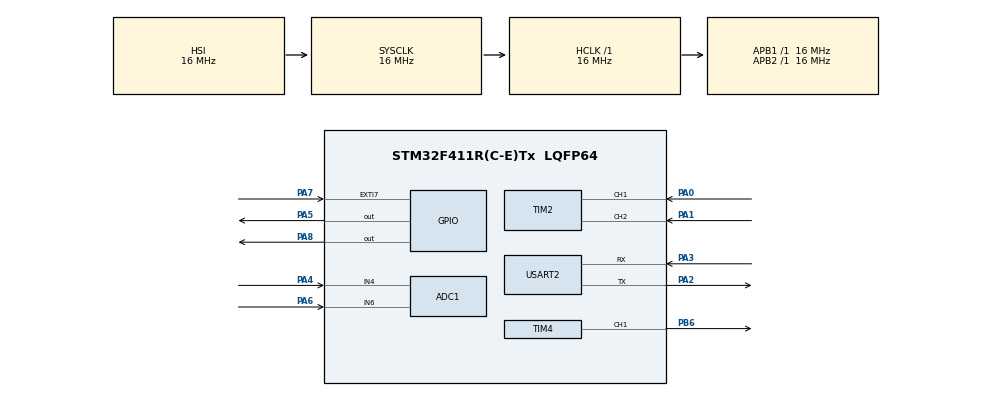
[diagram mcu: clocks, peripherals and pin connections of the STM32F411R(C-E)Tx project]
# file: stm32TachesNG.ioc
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ADC1.Channel-2\#ChannelRegularConversion=ADC_CHANNEL_6
ADC1.Channel-3\#ChannelRegularConversion=ADC_CHANNEL_4
ADC1.ClockPrescaler=ADC_CLOCK_SYNC_PCLK_DIV4
ADC1.ContinuousConvMode=DISABLE
ADC1.DMAContinuousRequests=ENABLE
ADC1.NbrOfConversion=2
ADC1.NbrOfConversionFlag=1
ADC1.Rank-2\#ChannelRegularConversion=1
ADC1.Rank-3\#ChannelRegularConversion=2
ADC1.SamplingTime-2\#ChannelRegularConversion=ADC_SAMPLETIME_3CYCLES
ADC1.SamplingTime-3\#ChannelRegularConversion=ADC_SAMPLETIME_3CYCLES
ADC1.ScanConvMode=ENABLE
ADC1.master=1
Dma.ADC1.0.Direction=DMA_PERIPH_TO_MEMORY
Dma.ADC1.0.FIFOMode=DMA_FIFOMODE_DISABLE
Dma.ADC1.0.Instance=DMA2_Stream0
Dma.ADC1.0.MemDataAlignment=DMA_MDATAALIGN_HALFWORD
Dma.ADC1.0.MemInc=DMA_MINC_ENABLE
Dma.ADC1.0.Mode=DMA_NORMAL
Dma.ADC1.0.PeriphDataAlignment=DMA_PDATAALIGN_HALFWORD
Dma.ADC1.0.PeriphInc=DMA_PINC_DISABLE
Dma.ADC1.0.Priority=DMA_PRIORITY_LOW
Dma.Request0=ADC1
Mcu.Family=STM32F4
Mcu.Name=STM32F411R(C-E)Tx
Mcu.Package=LQFP64
NVIC.ADC_IRQn=true\:0\:0\:false\:false\:true\:true\:true\:true
NVIC.DMA2_Stream0_IRQn=true\:0\:0\:false\:false\:true\:false\:true\:true
NVIC.EXTI9_5_IRQn=true\:0\:0\:false\:false\:true\:true\:true\:true
NVIC.PriorityGroup=NVIC_PRIORITYGROUP_4
NVIC.USART2_IRQn=true\:0\:0\:false\:false\:true\:true\:true\:true
PA0-WKUP.Signal=S_TIM2_CH1_ETR
PA1.Signal=S_TIM2_CH2
PA2.Mode=Asynchronous
PA2.Signal=USART2_TX
PA3.Mode=Asynchronous
PA3.Signal=USART2_RX
PA4.Signal=ADCx_IN4
PA5.Signal=GPIO_Output
PA6.Signal=ADCx_IN6
PA7.Signal=GPXTI7
PA8.Signal=GPIO_Output
PB6.Signal=S_TIM4_CH1
PH0\ -\ OSC_IN.Mode=HSE-External-Oscillator
PH0\ -\ OSC_IN.Signal=RCC_OSC_IN
PH1\ -\ OSC_OUT.Mode=HSE-External-Oscillator
PH1\ -\ OSC_OUT.Signal=RCC_OSC_OUT
ProjectManager.HeapSize=0x200
ProjectManager.StackSize=0x400
ProjectManager.TargetToolchain=STM32CubeIDE
RCC.48MHZClocksFreq_Value=48000000
RCC.AHBFreq_Value=16000000
RCC.APB1Freq_Value=16000000
RCC.APB1TimFreq_Value=16000000
RCC.APB2Freq_Value=16000000
RCC.APB2TimFreq_Value=16000000
RCC.CortexFreq_Value=16000000
RCC.HCLKFreq_Value=16000000
RCC.HSE_VALUE=25000000
RCC.HSI_VALUE=16000000
RCC.LSE_VALUE=32768
RCC.SYSCLKFreq_VALUE=16000000
RCC.VCOOutputFreq_Value=192000000
SH.ADCx_IN4.0=ADC1_IN4,IN4
SH.ADCx_IN6.0=ADC1_IN6,IN6
SH.S_TIM2_CH1_ETR.0=TIM2_CH1,Encoder_Interface
SH.S_TIM2_CH2.0=TIM2_CH2,Encoder_Interface
SH.S_TIM4_CH1.0=TIM4_CH1,PWM Generation1 CH1
TIM4.AutoReloadPreload=TIM_AUTORELOAD_PRELOAD_ENABLE
TIM4.Channel-PWM\ Generation1\ CH1=TIM_CHANNEL_1
TIM4.Period=49
TIM4.Prescaler=15
USART2.VirtualMode=VM_ASYNC
VP_TIM4_VS_ClockSourceINT.Mode=Internal
board=custom

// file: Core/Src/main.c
/* USER CODE BEGIN Header */
/**
  ******************************************************************************
  * @file           : main.c
  * @brief          : Main program body
  ******************************************************************************
  * @attention
  *
  * Copyright (c) 2023 STMicroelectronics.
  * All rights reserved.
  *
  * This software is licensed under terms that can be found in the LICENSE file
  * in the root directory of this software component.
  * If no LICENSE file comes with this software, it is provided AS-IS.
  *
  ******************************************************************************
  */
/* USER CODE END Header */
#include "main.h"

/* USER CODE BEGIN Includes */

#include <stdbool.h>
#include <stdio.h>
#include <string.h>

/* USER CODE END Includes */

/* USER CODE BEGIN PTD */
uint8_t recvBuf[3];
uint16_t valeur;
uint16_t consignSpeed = 0;
uint8_t motorState = 0;

#define pwmPeriod 20000
/* USER CODE END PTD */

ADC_HandleTypeDef hadc1;
DMA_HandleTypeDef hdma_adc1;

TIM_HandleTypeDef htim2;
TIM_HandleTypeDef htim4;

UART_HandleTypeDef huart2;

/* USER CODE BEGIN PV */

uint32_t value_adc;
uint32_t value_dac=0;
volatile uint16_t adcResultsDMA [2];
const int adcChannelCount = sizeof( adcResultsDMA)/ sizeof(adcResultsDMA[0]);
volatile int adcConversionComplete = 0 ;
int pwmConsign;
float up;
float ui = 0.0;

#define Te              5
#define tau 			70
#define COUNT_PER_ROUND 500
#define MAX_CNT_PER_REV (COUNT_PER_ROUND * 4 - 1)
#define MAX_COUNT (int)(((unsigned long)MAX_CNT_PER_REV*16392)/1000)
#define HALF_MAX_COUNT (MAX_COUNT>>1)
#define COEFF 16392

/* USER CODE END PV */

void SystemClock_Config(void);
static void MX_GPIO_Init(void);
static void MX_DMA_Init(void);
static void MX_TIM2_Init(void);
static void MX_USART2_UART_Init(void);
static void MX_ADC1_Init(void);
static void MX_TIM4_Init(void);
/* USER CODE BEGIN PFP */

void HAL_UART_RxCpltCallback(UART_HandleTypeDef *huart){
	switch(recvBuf[0]){
	case 0:
		motorState = recvBuf[1];
		break;
	case 1:

		consignSpeed = ((uint16_t)recvBuf[1] << 8) | recvBuf[2];
		break;
	}
	 HAL_UART_Receive_IT(&huart2, &recvBuf, sizeof(recvBuf));
}

/* USER CODE END PFP */

/* USER CODE BEGIN 0 */
bool value = 0;
int position[2] = {0,0};
int speed = 0;

float motorCurrentValue = 0.0;
//static float CurrentT = 0;
//static unsigned int numT = 0;
void HAL_TIM_PeriodElapsedCallback(TIM_HandleTypeDef *htim){
  	/*if ((htim==&htim3) )
  	HAL_GPIO_TogglePin(GPIOA, GPIO_PIN_5);*/

  	if ((htim==&htim2) )
  	  	HAL_GPIO_TogglePin(GPIOA, GPIO_PIN_8);
  		//numT++;
  		//CurrentT = (float)(numT * 0.0001);
  }

//void getPosition(int* pos){
//     int counterValue = 0;
//     counterValue = (int)TIM2->CNT;
//     pos[1] = pos[0];
//     pos[0] = (unsigned int)(((unsigned long)counterValue * COEFF)/1000);
//     }

void quadEncoder_PosCalcL(int* AngPos)
{

int POSCNTcopy = 0;
POSCNTcopy = (int)TIM2->CNT;
AngPos[1] = AngPos[0];
AngPos[0] = (unsigned int)(((unsigned long)POSCNTcopy * COEFF)/1000); // 0 <= POSCNT <= 4999 to 0 <= AngPos <= 32767
}

//int getSpeed(int* pos){
//   int speed = 0;
//   getPosition(pos);
//   speed = pos[0] - pos[1];
//   if (speed >= 0)
//	   {
//		   if (speed >= HALF_MAX_COUNT)
//			   {
//			   speed = speed - MAX_COUNT;
//			   }
//	   }
//	   else
//	   {
//		   if (speed < -HALF_MAX_COUNT)
//			   {
//			   speed = speed + MAX_COUNT;
//			   }
//	   }
//  speed=(speed*60*1000)/(32767*Te);
//  return speed;
// }
int16_t quadEncoder_GetSpeedL(void)
{
	static int AngPos[2] = {0,0};
	static int16_t SpeedL=0;

	quadEncoder_PosCalcL(AngPos);
	SpeedL = AngPos[0] - AngPos[1];
	if (SpeedL >= 0)
	{
		if (SpeedL >= HALF_MAX_COUNT)
			{
			SpeedL = SpeedL - MAX_COUNT;
			}
	}
	else
	{
		if (SpeedL < -HALF_MAX_COUNT)
			{
			SpeedL = SpeedL + MAX_COUNT;
			}
	}

	SpeedL=(SpeedL*60*1000)/(32767*Te);
	return SpeedL;
}
/* USER CODE END 0 */

int main(void)
{
  /* USER CODE BEGIN 1 */

	float Ti = 0.1 * tau ;
	float Ki = Te/ Ti ;
	float Kp = 0.1;
	int currentSpeed =0;
	float err = 0;

	int tab_speed[2000];
	static int i =0;

	float motorTensorValue =0.0;
  /* USER CODE END 1 */

  /* MCU Configuration--------------------------------------------------------*/

  /* Reset of all peripherals, Initializes the Flash interface and the Systick. */
  HAL_Init();

  /* Configure the system clock */
  SystemClock_Config();

  /* Initialize all configured peripherals */
  MX_GPIO_Init();
  MX_DMA_Init();
  MX_TIM2_Init();
  MX_USART2_UART_Init();
  MX_ADC1_Init();
  MX_TIM4_Init();
  /* USER CODE BEGIN 2 */

  //HAL_TIM_Encoder_Start(&htim5, TIM_CHANNEL_ALL);
  HAL_TIM_PWM_Start(&htim4, TIM_CHANNEL_1);
  HAL_TIM_Base_Start(&htim2);

  /* USER CODE END 2 */

  /* Infinite loop */
  /* USER CODE BEGIN WHILE */

	HAL_GPIO_WritePin(GPIOA, GPIO_PIN_5, 1);
	HAL_GPIO_WritePin(GPIOA, GPIO_PIN_8, 1);

  while (1)
  {

	HAL_ADC_Start_DMA(&hadc1,(uint32_t*)adcResultsDMA,adcChannelCount);
	while(adcConversionComplete ==0){};
	adcConversionComplete = 0 ;

	valeur =adcResultsDMA[0];
	motorTensorValue= adcResultsDMA[1];
	motorTensorValue = (motorTensorValue * 3.3 / 4095.0) ;
	motorCurrentValue = -4*(motorTensorValue -1)/(10*0.05);
	//valeur = HAL_ADC_GetValue(&hadc1);

	speed = quadEncoder_GetSpeedL();

	//HAL_UART_Transmit(&huart2, (uint8_t*)message, strlen(message), HAL_MAX_DELAY);
	err = consignSpeed - speed;
	up = Kp*err;
	ui = ui + Kp*Ki*err;
	pwmConsign = (int)((ui + up) * pwmPeriod/100);
	if(ui+up > 100 || ui+up <0){
		ui = 0;
		up = 0;
	}
	if(motorState){
	__HAL_TIM_SetCompare(&htim4, TIM_CHANNEL_1,pwmPeriod);
	}else{
	__HAL_TIM_SetCompare(&htim4, TIM_CHANNEL_1,0);
	}

//	char message[10];
//
//	snprintf(message, sizeof(message), "0#%0.3f\n\r",motorCurrentValue);
//	HAL_UART_Transmit(&huart2, (uint8_t*)message, strlen(message), HAL_MAX_DELAY);
//	snprintf(message, sizeof(message), "1#%d\n\r",speed);
//	HAL_UART_Transmit(&huart2, (uint8_t*)message, strlen(message), HAL_MAX_DELAY);

	HAL_Delay(Te);
    /* USER CODE END WHILE */

  }
}

void SystemClock_Config(void)
{
  RCC_OscInitTypeDef RCC_OscInitStruct = {0};
  RCC_ClkInitTypeDef RCC_ClkInitStruct = {0};

  /** Configure the main internal regulator output voltage
  */
  __HAL_RCC_PWR_CLK_ENABLE();
  __HAL_PWR_VOLTAGESCALING_CONFIG(PWR_REGULATOR_VOLTAGE_SCALE1);

  /** Initializes the RCC Oscillators according to the specified parameters
  * in the RCC_OscInitTypeDef structure.
  */
  RCC_OscInitStruct.OscillatorType = RCC_OSCILLATORTYPE_HSI;
  RCC_OscInitStruct.HSIState = RCC_HSI_ON;
  RCC_OscInitStruct.HSICalibrationValue = RCC_HSICALIBRATION_DEFAULT;
  RCC_OscInitStruct.PLL.PLLState = RCC_PLL_NONE;
  if (HAL_RCC_OscConfig(&RCC_OscInitStruct) != HAL_OK)
  {
    Error_Handler();
  }

  /** Initializes the CPU, AHB and APB buses clocks
  */
  RCC_ClkInitStruct.ClockType = RCC_CLOCKTYPE_HCLK|RCC_CLOCKTYPE_SYSCLK
                              |RCC_CLOCKTYPE_PCLK1|RCC_CLOCKTYPE_PCLK2;
  RCC_ClkInitStruct.SYSCLKSource = RCC_SYSCLKSOURCE_HSI;
  RCC_ClkInitStruct.AHBCLKDivider = RCC_SYSCLK_DIV1;
  RCC_ClkInitStruct.APB1CLKDivider = RCC_HCLK_DIV1;
  RCC_ClkInitStruct.APB2CLKDivider = RCC_HCLK_DIV1;

  if (HAL_RCC_ClockConfig(&RCC_ClkInitStruct, FLASH_LATENCY_0) != HAL_OK)
  {
    Error_Handler();
  }
}

static void MX_ADC1_Init(void)
{

  ADC_ChannelConfTypeDef sConfig = {0};

  /** Configure the global features of the ADC (Clock, Resolution, Data Alignment and number of conversion)
  */
  hadc1.Instance = ADC1;
  hadc1.Init.ClockPrescaler = ADC_CLOCK_SYNC_PCLK_DIV4;
  hadc1.Init.Resolution = ADC_RESOLUTION_12B;
  hadc1.Init.ScanConvMode = ENABLE;
  hadc1.Init.ContinuousConvMode = DISABLE;
  hadc1.Init.DiscontinuousConvMode = DISABLE;
  hadc1.Init.ExternalTrigConvEdge = ADC_EXTERNALTRIGCONVEDGE_NONE;
  hadc1.Init.ExternalTrigConv = ADC_SOFTWARE_START;
  hadc1.Init.DataAlign = ADC_DATAALIGN_RIGHT;
  hadc1.Init.NbrOfConversion = 2;
  hadc1.Init.DMAContinuousRequests = ENABLE;
  hadc1.Init.EOCSelection = ADC_EOC_SINGLE_CONV;
  if (HAL_ADC_Init(&hadc1) != HAL_OK)
  {
    Error_Handler();
  }

  /** Configure for the selected ADC regular channel its corresponding rank in the sequencer and its sample time.
  */
  sConfig.Channel = ADC_CHANNEL_6;
  sConfig.Rank = 1;
  sConfig.SamplingTime = ADC_SAMPLETIME_3CYCLES;
  if (HAL_ADC_ConfigChannel(&hadc1, &sConfig) != HAL_OK)
  {
    Error_Handler();
  }

  /** Configure for the selected ADC regular channel its corresponding rank in the sequencer and its sample time.
  */
  sConfig.Channel = ADC_CHANNEL_4;
  sConfig.Rank = 2;
  if (HAL_ADC_ConfigChannel(&hadc1, &sConfig) != HAL_OK)
  {
    Error_Handler();
  }

}

static void MX_TIM2_Init(void)
{

  TIM_Encoder_InitTypeDef sConfig = {0};
  TIM_MasterConfigTypeDef sMasterConfig = {0};

  htim2.Instance = TIM2;
  htim2.Init.Prescaler = 0;
  htim2.Init.CounterMode = TIM_COUNTERMODE_UP;
  htim2.Init.Period = COUNT_PER_ROUND*4;
  htim2.Init.ClockDivision = TIM_CLOCKDIVISION_DIV1;
  htim2.Init.AutoReloadPreload = TIM_AUTORELOAD_PRELOAD_DISABLE;
  sConfig.EncoderMode = TIM_ENCODERMODE_TI12;
  sConfig.IC1Polarity = TIM_INPUTCHANNELPOLARITY_RISING;
  sConfig.IC1Selection = TIM_ICSELECTION_DIRECTTI;
  sConfig.IC1Prescaler = TIM_ICPSC_DIV4;
  sConfig.IC1Filter = 0x0F;
  sConfig.IC2Polarity = TIM_INPUTCHANNELPOLARITY_RISING;
  sConfig.IC2Selection = TIM_ICSELECTION_DIRECTTI;
  sConfig.IC2Prescaler = TIM_ICPSC_DIV4;
  sConfig.IC2Filter = 0x0F;
  if (HAL_TIM_Encoder_Init(&htim2, &sConfig) != HAL_OK)
  {
    Error_Handler();
  }
  sMasterConfig.MasterOutputTrigger = TIM_TRGO_RESET;
  sMasterConfig.MasterSlaveMode = TIM_MASTERSLAVEMODE_DISABLE;
  if (HAL_TIMEx_MasterConfigSynchronization(&htim2, &sMasterConfig) != HAL_OK)
  {
    Error_Handler();
  }
  /* USER CODE BEGIN TIM2_Init 2 */
  __HAL_TIM_SetCounter(&htim2, 0);

  	HAL_TIM_Encoder_Start(&htim2,TIM_CHANNEL_1);
  	HAL_TIM_Encoder_Start(&htim2,TIM_CHANNEL_2);
  /* USER CODE END TIM2_Init 2 */

}

static void MX_TIM4_Init(void)
{

  TIM_ClockConfigTypeDef sClockSourceConfig = {0};
  TIM_MasterConfigTypeDef sMasterConfig = {0};
  TIM_OC_InitTypeDef sConfigOC = {0};

  /* USER CODE BEGIN TIM4_Init 1 */

  htim4.Instance = TIM4;
  htim4.Init.Prescaler = 0;
  htim4.Init.CounterMode = TIM_COUNTERMODE_UP;
  htim4.Init.Period = pwmPeriod;
  htim4.Init.ClockDivision = TIM_CLOCKDIVISION_DIV1;
  htim4.Init.AutoReloadPreload = TIM_AUTORELOAD_PRELOAD_ENABLE;
  /* USER CODE END TIM4_Init 1 */
  if (HAL_TIM_Base_Init(&htim4) != HAL_OK)
  {
    Error_Handler();
  }
  sClockSourceConfig.ClockSource = TIM_CLOCKSOURCE_INTERNAL;
  if (HAL_TIM_ConfigClockSource(&htim4, &sClockSourceConfig) != HAL_OK)
  {
    Error_Handler();
  }
  if (HAL_TIM_PWM_Init(&htim4) != HAL_OK)
  {
    Error_Handler();
  }
  sMasterConfig.MasterOutputTrigger = TIM_TRGO_RESET;
  sMasterConfig.MasterSlaveMode = TIM_MASTERSLAVEMODE_DISABLE;
  if (HAL_TIMEx_MasterConfigSynchronization(&htim4, &sMasterConfig) != HAL_OK)
  {
    Error_Handler();
  }
  sConfigOC.OCMode = TIM_OCMODE_PWM1;
  sConfigOC.Pulse = 0;
  sConfigOC.OCPolarity = TIM_OCPOLARITY_HIGH;
  sConfigOC.OCFastMode = TIM_OCFAST_DISABLE;
  if (HAL_TIM_PWM_ConfigChannel(&htim4, &sConfigOC, TIM_CHANNEL_1) != HAL_OK)
  {
    Error_Handler();
  }
  HAL_TIM_MspPostInit(&htim4);

}

static void MX_USART2_UART_Init(void)
{

  huart2.Instance = USART2;
  huart2.Init.BaudRate = 115200;
  huart2.Init.WordLength = UART_WORDLENGTH_8B;
  huart2.Init.StopBits = UART_STOPBITS_1;
  huart2.Init.Parity = UART_PARITY_NONE;
  huart2.Init.Mode = UART_MODE_TX_RX;
  huart2.Init.HwFlowCtl = UART_HWCONTROL_NONE;
  huart2.Init.OverSampling = UART_OVERSAMPLING_16;
  if (HAL_UART_Init(&huart2) != HAL_OK)
  {
    Error_Handler();
  }
  /* USER CODE BEGIN USART2_Init 2 */
  HAL_UART_Receive_IT(&huart2, &recvBuf, sizeof(recvBuf));
  /* USER CODE END USART2_Init 2 */

}

static void MX_DMA_Init(void)
{

  /* DMA controller clock enable */
  __HAL_RCC_DMA2_CLK_ENABLE();

  /* DMA interrupt init */
  /* DMA2_Stream0_IRQn interrupt configuration */
  HAL_NVIC_SetPriority(DMA2_Stream0_IRQn, 0, 0);
  HAL_NVIC_EnableIRQ(DMA2_Stream0_IRQn);

}

static void MX_GPIO_Init(void)
{
  GPIO_InitTypeDef GPIO_InitStruct = {0};

  /* GPIO Ports Clock Enable */
  __HAL_RCC_GPIOH_CLK_ENABLE();
  __HAL_RCC_GPIOA_CLK_ENABLE();
  __HAL_RCC_GPIOB_CLK_ENABLE();

  /*Configure GPIO pin Output Level */
  HAL_GPIO_WritePin(GPIOA, GPIO_PIN_5|GPIO_PIN_8, GPIO_PIN_RESET);

  /*Configure GPIO pins : PA5 PA8 */
  GPIO_InitStruct.Pin = GPIO_PIN_5|GPIO_PIN_8;
  GPIO_InitStruct.Mode = GPIO_MODE_OUTPUT_PP;
  GPIO_InitStruct.Pull = GPIO_NOPULL;
  GPIO_InitStruct.Speed = GPIO_SPEED_FREQ_LOW;
  HAL_GPIO_Init(GPIOA, &GPIO_InitStruct);

  /*Configure GPIO pin : PA7 */
  GPIO_InitStruct.Pin = GPIO_PIN_7;
  GPIO_InitStruct.Mode = GPIO_MODE_IT_RISING;
  GPIO_InitStruct.Pull = GPIO_NOPULL;
  HAL_GPIO_Init(GPIOA, &GPIO_InitStruct);

  /* EXTI interrupt init*/
  HAL_NVIC_SetPriority(EXTI9_5_IRQn, 0, 0);
  HAL_NVIC_EnableIRQ(EXTI9_5_IRQn);

}

/* USER CODE BEGIN 4 */
void HAL_ADC_ConvCpltCallback(ADC_HandleTypeDef* hadc){
	adcConversionComplete=1;
}

/* USER CODE END 4 */

void Error_Handler(void)
{
  __disable_irq();
  while (1)
  {
  }
}
